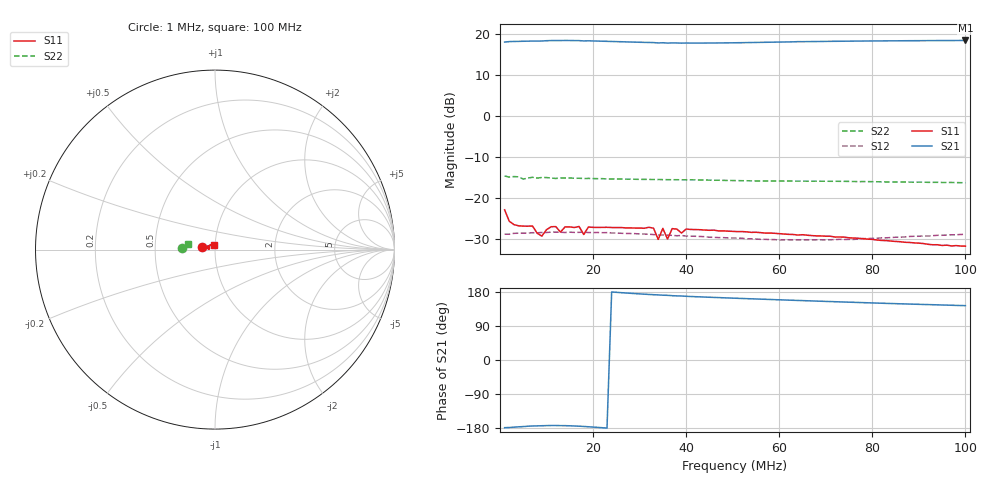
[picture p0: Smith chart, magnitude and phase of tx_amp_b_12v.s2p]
# HZ S RI R 50
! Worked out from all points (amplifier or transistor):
!   100 points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, 1 MHz to 100 MHz, reference 50 ohm
!   highest |S21| = 18.5 dB at 100 MHz (marker M1)
!   |S21| within 3 dB of that: start of sweep to end of sweep
!   unconditionally stable (mu >= 1): start of sweep to end of sweep
!   at 17 MHz: K = 1.70, MAG = 18.6 dB, |S12| = -28.4 dB
!   at 51 MHz: K = 2.06, MAG = 18.0 dB, |S12| = -29.9 dB
!   at 100 MHz: K = 1.78, MAG = 18.6 dB, |S12| = -28.9 dB
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1000001  -0.0699 0.0132  -8.003 -0.1953  0.0356 0.00413  -0.1845 0.0064
3000001  -0.0461 0.00909  -8.128 -0.3972  0.0366 0.00336  -0.1814 0.00761
7000001  -0.0442 0.0089  -8.192 -0.8391  0.0374 0.00137  -0.1778 0.00899
9000001  -0.0338 0.00378  -8.187 -0.9376  0.0376 0.00043  -0.1767 0.00615
1.1e7  -0.043 0.0104  -8.279 -1.033  0.038 -0.000741  -0.1742 0.0104
1.3e7  -0.0366 0.0102  -8.291 -0.9901  0.0378 -0.00157  -0.1741 0.0119
1.4e7  -0.0429 0.0104  -8.312 -0.985  0.0376 -0.00201  -0.174 0.0118
1.7e7  -0.0431 0.0113  -8.298 -0.7688  0.0377 -0.00308  -0.1727 0.0134
1.8e7  -0.0354 0.003  -8.233 -0.6617  0.0379 -0.0036  -0.1711 0.014
1.9e7  -0.0422 0.012  -8.269 -0.554  0.0374 -0.004  -0.1719 0.0139
2.6e7  -0.0406 0.0149  -8.071 0.3201  0.0362 -0.00651  -0.1684 0.0162
3.2e7  -0.0392 0.019  -7.857 0.9677  0.0349 -0.0084  -0.1669 0.0174
3.3e7  -0.0387 0.0175  -7.815 1.053  0.0344 -0.00876  -0.1661 0.0176
3.4e7  -0.0301 0.0075  -7.725 1.12  0.034 -0.00902  -0.1661 0.0178
3.5e7  -0.0381 0.0182  -7.751 1.225  0.0338 -0.00909  -0.1658 0.0177
3.6e7  -0.0309 0.0046  -7.668 1.265  0.0337 -0.00917  -0.1654 0.0177
3.7e7  -0.0374 0.019  -7.69 1.391  0.0334 -0.0094  -0.1652 0.0176
3.9e7  -0.0357 0.00991  -7.62 1.496  0.0332 -0.00962  -0.1649 0.0172
5.1e7  -0.031 0.023  -7.501 2.318  0.0304 -0.0104  -0.161 0.0177
6.7e7  -0.0229 0.0258  -7.404 3.314  0.0291 -0.00935  -0.1575 0.0247
8.4e7  -0.0144 0.0258  -7.103 4.259  0.0311 -0.00992  -0.1531 0.0286
1e8  -0.00789 0.0244  -6.723 4.988  0.0327 -0.0146  -0.1492 0.0319
